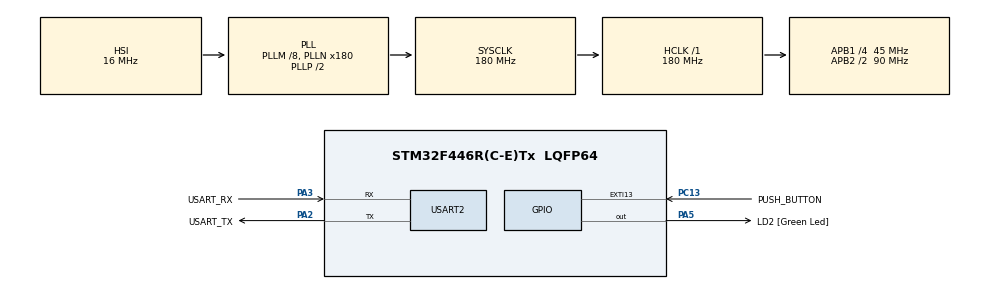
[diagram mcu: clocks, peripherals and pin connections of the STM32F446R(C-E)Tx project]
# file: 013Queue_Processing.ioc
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Mcu.Family=STM32F4
VP_SYS_VS_tim6.Mode=TIM6
PH0-OSC_IN.Signal=RCC_OSC_IN
RCC.CortexFreq_Value=180000000
NVIC.TIM6_DAC_IRQn=true\:0\:0\:false\:false\:true\:false\:true
PC13.Signal=GPXTI13
PA14.GPIO_Label=TCK
VP_RTC_VS_RTC_Activate.Mode=RTC_Enabled
PC13.GPIO_Label=PUSH_BUTTON
RCC.APB1CLKDivider=RCC_HCLK_DIV4
PC14-OSC32_IN.Signal=RCC_OSC32_IN
NVIC.USART2_IRQn=true\:6\:0\:true\:false\:true\:true\:true
RCC.SYSCLKSource=RCC_SYSCLKSOURCE_PLLCLK
ProjectManager.StackSize=0x400
PA13.Signal=SYS_JTMS-SWDIO
PA3.Mode=Asynchronous
ProjectManager.TargetToolchain=STM32CubeIDE
RCC.HCLKFreq_Value=180000000
RCC.APB2TimFreq_Value=180000000
RCC.USBFreq_Value=180000000
RCC.LSE_VALUE=32768
PC15-OSC32_OUT.Signal=RCC_OSC32_OUT
RCC.AHBFreq_Value=180000000
PA5.Signal=GPIO_Output
RCC.HSE_VALUE=8000000
board=NUCLEO-F446RE
RCC.VCOOutputFreq_Value=360000000
RCC.APB2Freq_Value=90000000
PH1-OSC_OUT.Signal=RCC_OSC_OUT
Mcu.Name=STM32F446R(C-E)Tx
PA2.Signal=USART2_TX
PA13.GPIO_Label=TMS
RCC.FLatency-AdvancedSettings=FLASH_LATENCY_5
PB3.Signal=SYS_JTDO-SWO
RCC.SYSCLKFreq_VALUE=180000000
Mcu.Package=LQFP64
NVIC.TimeBase=TIM6_DAC_IRQn
PA5.GPIO_Label=LD2 [Green Led]
PC13.GPIO_ModeDefaultEXTI=GPIO_MODE_IT_RISING
USART2.VirtualMode=VM_ASYNC
PA2.GPIO_Label=USART_TX
NVIC.TimeBaseIP=TIM6
PA14.Signal=SYS_JTCK-SWCLK
RTC.HourFormat=RTC_HOURFORMAT_12
ProjectManager.HeapSize=0x200
RCC.HSI_VALUE=16000000
NVIC.PriorityGroup=NVIC_PRIORITYGROUP_4
RCC.APB2CLKDivider=RCC_HCLK_DIV2
RCC.PLLM=8
RCC.PLLN=180
RCC.APB1TimFreq_Value=90000000
PA2.Mode=Asynchronous
RCC.APB1Freq_Value=45000000
PA3.GPIO_Label=USART_RX
PA3.Signal=USART2_RX
PB3.GPIO_Label=SWO

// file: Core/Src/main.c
/* USER CODE BEGIN Header */
/**
  ******************************************************************************
  * @file           : main.c
  * @brief          : Main program body
  ******************************************************************************
  * @attention
  *
  * <h2><center>&copy; Copyright (c) 2021 STMicroelectronics.
  * All rights reserved.</center></h2>
  *
  * This software component is licensed by ST under BSD 3-Clause license,
  * the "License"; You may not use this file except in compliance with the
  * License. You may obtain a copy of the License at:
  *                        opensource.org/licenses/BSD-3-Clause
  *
  ******************************************************************************
  */
/* USER CODE END Header */
#include "main.h"

/* USER CODE BEGIN Includes */
#include "stm32f4xx.h"
/* USER CODE END Includes */

/* USER CODE BEGIN PTD */

//command structure
typedef struct APP_CMD {
	uint8_t COMMAND_NUM;
	uint8_t COMMAND_ARGS[10];
} APP_CMD_t;

/* USER CODE END PTD */

/* USER CODE BEGIN PM */
#define DWT_CTRL    (*(volatile uint32_t*)0xE0001000)

/* Dimensions the buffer into which messages destined for stdout are placed. */
#define mainMAX_MSG_LEN	( 80 )

#define LED_ON_COMMAND 					1
#define LED_OFF_COMMAND 				2
#define LED_TOGGLE_COMMAND 				3
#define LED_TOGGLE_STOP_COMMAND 		4
#define LED_READ_STATUS_COMMAND 		5
#define RTC_READ_DATE_TIME_COMMAND		6

/* USER CODE END PM */

RTC_HandleTypeDef hrtc;

UART_HandleTypeDef huart2;

/* USER CODE BEGIN PV */
volatile uint8_t user_data;
uint8_t command_buffer[20];
uint8_t command_len = 0;

//This is the menu
char menu[] = { "\
\r\nLED_ON             ----> 1 \
\r\nLED_OFF            ----> 2 \
\r\nLED_TOGGLE         ----> 3 \
\r\nLED_TOGGLE_OFF     ----> 4 \
\r\nLED_READ_STATUS    ----> 5 \
\r\nRTC_PRINT_DATETIME ----> 6 \
\r\nEXIT_APP           ----> 0 \
\r\nType your option here : " };

char usr_msg[250] = {0};

//Task handles
TaskHandle_t xTaskHandle1 = NULL;
TaskHandle_t xTaskHandle2 = NULL;
TaskHandle_t xTaskHandle3 = NULL;
TaskHandle_t xTaskHandle4 = NULL;

//Queue handles
QueueHandle_t command_queue=NULL;
QueueHandle_t uart_write_queue = NULL;

//Software timer handle
TimerHandle_t led_timer_handle = NULL;

/* USER CODE END PV */

void SystemClock_Config(void);
static void MX_GPIO_Init(void);
static void MX_RTC_Init(void);
static void MX_USART2_UART_Init(void);
/* USER CODE BEGIN PFP */
void printmsg(char *msg);
void rtos_delay(uint32_t delay_in_ms);
void getArguments(uint8_t *buffer);
uint8_t getCommandCode(uint8_t *buffer);

//prototypes command helper functions
void make_led_on(void);
void make_led_off(void);
void led_toggle_start(uint32_t duration);
void led_toggle_stop(void);
void read_led_status(char *task_msg);
void read_rtc_info(char *task_msg);
void print_error_message(char *task_msg);

//tasks prototypes
void vTask1_menu_display(void *pvParameters);
void vTask2_cmd_handling(void *pvParameters);
void vTask3_cmd_processing(void *pvParameters);
void vTask4_uart_write(void *pvParameters);

//Software timer callback function prototype
void led_toggle(TimerHandle_t xTimer);

//extern void SEGGER_UART_init(uint32_t);
/* USER CODE END PFP */

int main(void)
{
  /* USER CODE BEGIN 1 */
	//SEGGER_UART_init(500000);
	// Used to collect SEGGER Event time-stamps
	DWT->CTRL |= (1 << 0); //Enable CYCCNT in DWT_CTRL
  /* USER CODE END 1 */

  /* MCU Configuration--------------------------------------------------------*/

  /* Reset of all peripherals, Initializes the Flash interface and the Systick. */
  HAL_Init();

  /* Configure the system clock */
  SystemClock_Config();

  /* Initialize all configured peripherals */
  MX_GPIO_Init();
  MX_RTC_Init();
  MX_USART2_UART_Init();
  /* USER CODE BEGIN 2 */

  //Start Recording with Segger SystemView
  	//SEGGER_SYSVIEW_Conf();
  	//SEGGER_SYSVIEW_Start();

	sprintf(usr_msg, "\r\nThis is Queue Command Processing Demo\r\n");
	printmsg(usr_msg);

	//Queue creations
	command_queue = xQueueCreate(10, sizeof(APP_CMD_t*));
	uart_write_queue = xQueueCreate(10, sizeof(char*));

	if((command_queue != NULL) && (uart_write_queue != NULL)) {

		xTaskCreate(vTask1_menu_display, "TASK1-MENU", 500, NULL, 1, &xTaskHandle1);
		xTaskCreate(vTask2_cmd_handling, "TASK2-CMD-HANDLING", 500, NULL, 2, &xTaskHandle2);
		xTaskCreate(vTask3_cmd_processing, "TASK3-CMD-PROCESS", 500, NULL, 2, &xTaskHandle3);
		xTaskCreate(vTask4_uart_write, "TASK4-UART-WRITE", 500, NULL, 2, &xTaskHandle4);

		/* Start the scheduler so the created tasks start executing. */
		vTaskStartScheduler();
	}

	sprintf(usr_msg, "Queue creation failed... \r\n");
	printmsg(usr_msg);

	//Code will never reach here if creation of Queue/Semaphore was successful because the scheduler will be running the tasks indefinitely.
	//If it does reach here, then it is likely due to insufficient heap memory available for a resource to be created.

  /* USER CODE END 2 */

  /* Infinite loop */
	while(1)
	{

	}
}

void SystemClock_Config(void)
{
  RCC_OscInitTypeDef RCC_OscInitStruct = {0};
  RCC_ClkInitTypeDef RCC_ClkInitStruct = {0};
  RCC_PeriphCLKInitTypeDef PeriphClkInitStruct = {0};

  /** Configure the main internal regulator output voltage
  */
  __HAL_RCC_PWR_CLK_ENABLE();
  __HAL_PWR_VOLTAGESCALING_CONFIG(PWR_REGULATOR_VOLTAGE_SCALE1);
  /** Initializes the RCC Oscillators according to the specified parameters
  * in the RCC_OscInitTypeDef structure.
  */
  RCC_OscInitStruct.OscillatorType = RCC_OSCILLATORTYPE_HSI|RCC_OSCILLATORTYPE_LSI;
  RCC_OscInitStruct.LSEState = RCC_LSE_OFF;
  RCC_OscInitStruct.HSIState = RCC_HSI_ON;
  RCC_OscInitStruct.HSICalibrationValue = RCC_HSICALIBRATION_DEFAULT;
  RCC_OscInitStruct.LSIState = RCC_LSI_ON;
  RCC_OscInitStruct.PLL.PLLState = RCC_PLL_ON;
  RCC_OscInitStruct.PLL.PLLSource = RCC_PLLSOURCE_HSI;
  RCC_OscInitStruct.PLL.PLLM = 8;
  RCC_OscInitStruct.PLL.PLLN = 180;
  RCC_OscInitStruct.PLL.PLLP = RCC_PLLP_DIV2;
  RCC_OscInitStruct.PLL.PLLQ = 2;
  RCC_OscInitStruct.PLL.PLLR = 2;
  if (HAL_RCC_OscConfig(&RCC_OscInitStruct) != HAL_OK)
  {
    Error_Handler();
  }
  /** Activate the Over-Drive mode
  */
  if (HAL_PWREx_EnableOverDrive() != HAL_OK)
  {
    Error_Handler();
  }
  /** Initializes the CPU, AHB and APB buses clocks
  */
  RCC_ClkInitStruct.ClockType = RCC_CLOCKTYPE_HCLK|RCC_CLOCKTYPE_SYSCLK
                              |RCC_CLOCKTYPE_PCLK1|RCC_CLOCKTYPE_PCLK2;
  RCC_ClkInitStruct.SYSCLKSource = RCC_SYSCLKSOURCE_PLLCLK;
  RCC_ClkInitStruct.AHBCLKDivider = RCC_SYSCLK_DIV1;
  RCC_ClkInitStruct.APB1CLKDivider = RCC_HCLK_DIV4;
  RCC_ClkInitStruct.APB2CLKDivider = RCC_HCLK_DIV2;

  if (HAL_RCC_ClockConfig(&RCC_ClkInitStruct, FLASH_LATENCY_5) != HAL_OK)
  {
    Error_Handler();
  }
  PeriphClkInitStruct.PeriphClockSelection = RCC_PERIPHCLK_RTC;
  PeriphClkInitStruct.RTCClockSelection = RCC_RTCCLKSOURCE_LSI;
  if (HAL_RCCEx_PeriphCLKConfig(&PeriphClkInitStruct) != HAL_OK)
  {
    Error_Handler();
  }
}

static void MX_RTC_Init(void)
{

  /** Initialize RTC Only
  */
  hrtc.Instance = RTC;
  hrtc.Init.HourFormat = RTC_HOURFORMAT_12;
  hrtc.Init.AsynchPrediv = 127;
  hrtc.Init.SynchPrediv = 255;
  hrtc.Init.OutPut = RTC_OUTPUT_DISABLE;
  hrtc.Init.OutPutPolarity = RTC_OUTPUT_POLARITY_HIGH;
  hrtc.Init.OutPutType = RTC_OUTPUT_TYPE_OPENDRAIN;
  if (HAL_RTC_Init(&hrtc) != HAL_OK)
  {
    Error_Handler();
  }

}

static void MX_USART2_UART_Init(void)
{

  huart2.Instance = USART2;
  huart2.Init.BaudRate = 115200;
  huart2.Init.WordLength = UART_WORDLENGTH_8B;
  huart2.Init.StopBits = UART_STOPBITS_1;
  huart2.Init.Parity = UART_PARITY_NONE;
  huart2.Init.Mode = UART_MODE_TX_RX;
  huart2.Init.HwFlowCtl = UART_HWCONTROL_NONE;
  huart2.Init.OverSampling = UART_OVERSAMPLING_16;
  if (HAL_UART_Init(&huart2) != HAL_OK)
  {
    Error_Handler();
  }

}

static void MX_GPIO_Init(void)
{
  GPIO_InitTypeDef GPIO_InitStruct = {0};

  /* GPIO Ports Clock Enable */
  __HAL_RCC_GPIOC_CLK_ENABLE();
  __HAL_RCC_GPIOH_CLK_ENABLE();
  __HAL_RCC_GPIOA_CLK_ENABLE();
  __HAL_RCC_GPIOB_CLK_ENABLE();

  /*Configure GPIO pin Output Level */
  HAL_GPIO_WritePin(LD2_GPIO_Port, LD2_Pin, GPIO_PIN_RESET);

  /*Configure GPIO pin : PUSH_BUTTON_Pin */
  GPIO_InitStruct.Pin = PUSH_BUTTON_Pin;
  GPIO_InitStruct.Mode = GPIO_MODE_IT_RISING;
  GPIO_InitStruct.Pull = GPIO_NOPULL;
  HAL_GPIO_Init(PUSH_BUTTON_GPIO_Port, &GPIO_InitStruct);

  /*Configure GPIO pin : LD2_Pin */
  GPIO_InitStruct.Pin = LD2_Pin;
  GPIO_InitStruct.Mode = GPIO_MODE_OUTPUT_PP;
  GPIO_InitStruct.Pull = GPIO_NOPULL;
  GPIO_InitStruct.Speed = GPIO_SPEED_FREQ_LOW;
  HAL_GPIO_Init(LD2_GPIO_Port, &GPIO_InitStruct);

}

/* USER CODE BEGIN 4 */
void vTask1_menu_display(void *pvParameters) {

	char *pData = menu;

	for(;;) {
		xQueueSend(uart_write_queue, &pData, portMAX_DELAY);

		//wait until notification
		xTaskNotifyWait(0, 0, NULL, portMAX_DELAY);
	}
}

void vTask2_cmd_handling(void *pvParameters) {

	uint8_t command_code = 0;

	APP_CMD_t *new_cmd;

	for(;;) {
		xTaskNotifyWait(0, 0, NULL, portMAX_DELAY);

		//1. send command to queue
		new_cmd = (APP_CMD_t*) pvPortMalloc(sizeof(APP_CMD_t));

		taskENTER_CRITICAL();
		command_code = getCommandCode(command_buffer);
		new_cmd->COMMAND_NUM = command_code;
		getArguments(new_cmd->COMMAND_ARGS);
		taskEXIT_CRITICAL();

		//send the command to the command queue
		xQueueSend(command_queue,&new_cmd,portMAX_DELAY);
	}
}

void vTask3_cmd_processing(void *pvParameters) {

	APP_CMD_t *new_cmd;
	char task_msg[50];

	uint32_t toggle_duration = pdMS_TO_TICKS(500);

	for(;;) {
		xQueueReceive(command_queue, (void*)&new_cmd, portMAX_DELAY);

		if(new_cmd->COMMAND_NUM == LED_ON_COMMAND) {
			make_led_on();

		} else if(new_cmd->COMMAND_NUM == LED_OFF_COMMAND) {
			make_led_off();

		} else if(new_cmd->COMMAND_NUM == LED_TOGGLE_COMMAND) {
			led_toggle_start(toggle_duration);

		} else if(new_cmd->COMMAND_NUM == LED_TOGGLE_STOP_COMMAND) {
			led_toggle_stop();

		} else if(new_cmd->COMMAND_NUM == LED_READ_STATUS_COMMAND) {
			read_led_status(task_msg);

		} else if(new_cmd->COMMAND_NUM == RTC_READ_DATE_TIME_COMMAND) {
			read_rtc_info(task_msg);

		} else {
			print_error_message(task_msg);
		}
		vPortFree(new_cmd);
	}
}

void vTask4_uart_write(void *pvParameters) {

	char *pData = NULL;

	for(;;) {
		xQueueReceive(uart_write_queue, &pData, portMAX_DELAY);
		printmsg(pData);
	}
}

void printmsg(char *msg) {

	for(uint32_t i = 0; i < strlen(msg); i++) {
		HAL_UART_Transmit(&huart2, (uint8_t*)&msg[i], sizeof(msg[i]), HAL_MAX_DELAY);
	}
}

void rtos_delay(uint32_t delay_in_ms) {

	uint32_t tick_count_local = 0;

	//convert ms to ticks
	uint32_t delay_in_ticks = ((delay_in_ms * configTICK_RATE_HZ) / 1000);

	tick_count_local = xTaskGetTickCount();

	while(xTaskGetTickCount() < (tick_count_local + delay_in_ticks));
}

void USART2_IRQHandler(void) {

	uint8_t data_byte;
	BaseType_t xHigherPriorityTaskWoken = pdFALSE;

	if(__HAL_UART_GET_FLAG(&huart2, UART_FLAG_RXNE)) {
		//a data byte is received from the user
		HAL_UART_Receive(&huart2, (uint8_t*)&data_byte, 1, HAL_MAX_DELAY);
		command_buffer[command_len++] = data_byte;

		if(data_byte == '\r') {
			//then user is finished entering the data
			//reset the command_len variable
			command_len = 0;

			//lets notify the command handling task
			xTaskNotifyFromISR(xTaskHandle2, 0, eNoAction, &xHigherPriorityTaskWoken);
			xTaskNotifyFromISR(xTaskHandle1, 0, eNoAction, &xHigherPriorityTaskWoken);
		}
	}

	// if the above freertos apis wake up any higher priority task, then yield the processor to the
	//higher priority task which is just woken up.

	if(xHigherPriorityTaskWoken) {
		taskYIELD();
	}
}

uint8_t getCommandCode(uint8_t *buffer) {

	return buffer[0] - 48;
}

void getArguments(uint8_t *buffer) {

}

void make_led_on(void) {

	HAL_GPIO_WritePin(GPIOA, GPIO_PIN_5, GPIO_PIN_SET);
}

void make_led_off(void) {

	HAL_GPIO_WritePin(GPIOA, GPIO_PIN_5, GPIO_PIN_RESET);
}

void led_toggle(TimerHandle_t xTimer) {

	HAL_GPIO_TogglePin(GPIOA, GPIO_PIN_5);
}

void led_toggle_start(uint32_t duration) {

	if(led_timer_handle == NULL) {
		//1. lets create the software timer
		led_timer_handle = xTimerCreate("LED-TIMER", duration, pdTRUE, NULL, led_toggle);

		//2. start the software timer
		xTimerStart(led_timer_handle, portMAX_DELAY);
	} else {
		//start the software timer
		xTimerStart(led_timer_handle, portMAX_DELAY);
	}
}

void led_toggle_stop(void) {

	 xTimerStop(led_timer_handle, portMAX_DELAY);
}

void read_led_status(char *task_msg) {

	sprintf(task_msg, "\r\nLED status is : %d\r\n", HAL_GPIO_ReadPin(GPIOA, GPIO_PIN_5));
	xQueueSend(uart_write_queue, &task_msg, portMAX_DELAY);
}

void read_rtc_info(char *task_msg)
{
	RTC_TimeTypeDef RTC_time;
	RTC_DateTypeDef RTC_date;

	/* Get the RTC current Time */
	HAL_RTC_GetTime(&hrtc, &RTC_time, RTC_FORMAT_BIN);
	/* Get the RTC current Date */
	HAL_RTC_GetDate(&hrtc, &RTC_date, RTC_FORMAT_BIN);

	sprintf(task_msg,"\r\nTime: %02d:%02d:%02d \r\n Date : %02d-%2d-%2d \r\n", RTC_time.Hours, RTC_time.Minutes, RTC_time.Seconds, \
									RTC_date.Date, RTC_date.Month, RTC_date.Year);
	xQueueSend(uart_write_queue, &task_msg, portMAX_DELAY);
}

void print_error_message(char *task_msg) {

	sprintf(task_msg, "\r\nInvalid command received\r\n");
	xQueueSend(uart_write_queue, &task_msg, portMAX_DELAY);
}

/* USER CODE END 4 */

 /**
  * @brief  Period elapsed callback in non blocking mode
  * @note   This function is called  when TIM6 interrupt took place, inside
  * HAL_TIM_IRQHandler(). It makes a direct call to HAL_IncTick() to increment
  * a global variable "uwTick" used as application time base.
  * @param  htim : TIM handle
  * @retval None
  */
void HAL_TIM_PeriodElapsedCallback(TIM_HandleTypeDef *htim)
{
  if (htim->Instance == TIM6) {
    HAL_IncTick();
  }
}

void Error_Handler(void)
{
  __disable_irq();
  while (1)
  {
  }
}

/************************ (C) COPYRIGHT STMicroelectronics *****END OF FILE****/
